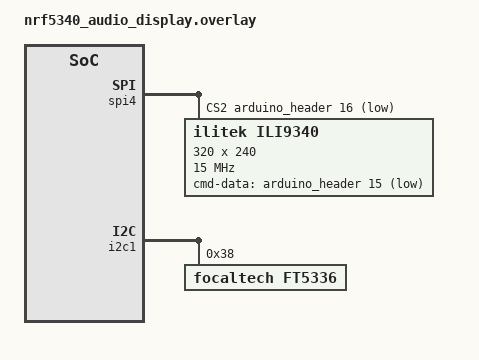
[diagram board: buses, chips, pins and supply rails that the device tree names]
/*
 * Copyright (c) 2023 Nordic Semiconductor ASA
 *
 * SPDX-License-Identifier: LicenseRef-Nordic-5-Clause
 */

#include <zephyr/dt-bindings/display/ili9xxx.h>

/ {
    chosen {
        zephyr,display = &ili9340;
        zephyr,keyboard-scan = &kscan_input;
    };
};

&spi4 {
    status = "okay";
    cs-gpios = <&gpio0 11 GPIO_ACTIVE_LOW>,
               <&gpio0 17 GPIO_ACTIVE_LOW>,
               <&arduino_header 16 GPIO_ACTIVE_LOW>,
               <&arduino_header 10 GPIO_ACTIVE_LOW>;


    ili9340: ili9340@2 {
        compatible = "ilitek,ili9340";
        spi-max-frequency = <15000000>;
        reg = <2>;
        cmd-data-gpios = <&arduino_header 15 GPIO_ACTIVE_LOW>;    /* D9 */
        width = <320>;
        height = <240>;
        pixel-format = <ILI9XXX_PIXEL_FORMAT_RGB888>;
        rotation = <90>;
        frmctr1 = [ 00 18  ];
        pwctrl1 = [ 23 00  ];
        vmctrl1 = [ 3e 28  ];
        vmctrl2 = [ 86  ];
        pgamctrl = [ 0f 31 2b 0c 0e 08 4e f1 37 07 10 03 0e 09 00  ];
        ngamctrl = [ 00 0e 14 03 11 07 31 c1 48 08 0f 0c 31 36 0f  ];
    };

};

&i2c1 {
    ft5336@38 {
        compatible = "focaltech,ft5336";
        reg = <0x38>;
        /* Uncomment if IRQ line is available (requires to solder jumper) */
        /* int-gpios = <&arduino_header 13 GPIO_ACTIVE_LOW>; */ /* D7 */

        kscan_input: kscan-input {
            compatible = "zephyr,kscan-input";
        };
    };
};
